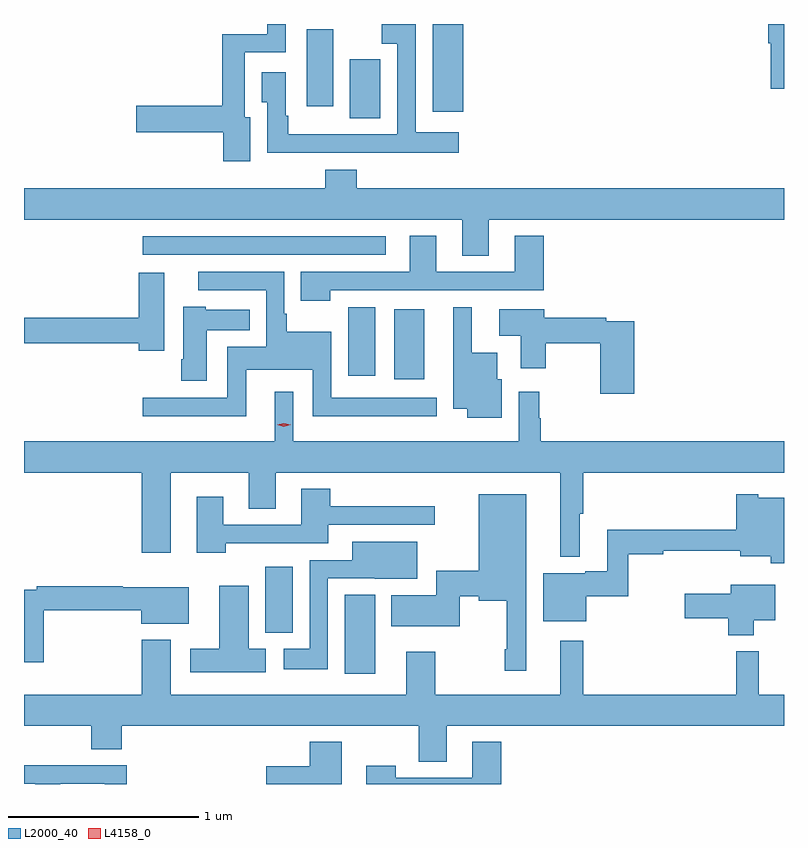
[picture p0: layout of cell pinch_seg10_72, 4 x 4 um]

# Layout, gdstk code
import gdstk
lib = gdstk.Library(unit=1e-6, precision=1e-09)
def R(c, l, rs):  # rectangles x0, y0, x1, y1
    for r in rs: c.add(gdstk.rectangle(r[:2], r[2:], *l))
def P(c, l, *ps):  # polygons
    for p in ps: c.add(gdstk.Polygon(p, *l))
L2000_40 = (2000, 40)
L4158_0 = (4158, 0)

pinch_seg10_72 = lib.new_cell('pinch_seg10_72')
R(pinch_seg10_72, L2000_40, [(820.445,1317.906,820.606,1318.321), (820.028,1318.121,820.171,1318.468), (820.706,1319.454,820.864,1319.824), (820.463,1319.475,820.606,1319.833), (819.381,1320.111,820.66,1320.207), (820.472,1320.829,820.633,1321.14), (820.907,1320.864,821.068,1321.325), (820.244,1320.891,820.384,1321.297)])
P(pinch_seg10_72, L2000_40, [(819.949,1320.835),(819.919,1320.835),(819.919,1321.176),(820.134,1321.176),(820.134,1321.325),(820.038,1321.325),(820.038,1321.272),(819.801,1321.272),(819.801,1320.896),(819.348,1320.896),(819.348,1320.754),(819.806,1320.754),(819.806,1320.603),(819.949,1320.603)],
  [(820.259,1320.648),(820.625,1320.648),(820.625,1320.647),(821.044,1320.647),(821.044,1320.754),(820.818,1320.754),(820.818,1321.325),(820.641,1321.325),(820.641,1321.221),(820.722,1321.221),(820.722,1320.744),(820.376,1320.744),(820.376,1320.745),(820.147,1320.745),(820.147,1320.841),(820.134,1320.841),(820.134,1321.072),(820.007,1321.072),(820.007,1320.913),(820.038,1320.913),(820.038,1320.647),(820.259,1320.647)],
  [(822.757,1321.325),(822.674,1321.325),(822.674,1321.223),(822.686,1321.223),(822.686,1320.983),(822.757,1320.983)],
  [(821.203,1320.296),(822.757,1320.296),(822.757,1320.46),(820.508,1320.46),(820.508,1320.559),(820.343,1320.559),(820.343,1320.46),(818.757,1320.46),(818.757,1320.296),(821.063,1320.296),(821.063,1320.106),(821.203,1320.106)],
  [(820.37,1319.925),(821.492,1319.925),(821.492,1320.211),(821.339,1320.211),(821.339,1320.021),(820.927,1320.021),(820.927,1320.211),(820.787,1320.211),(820.787,1320.021),(820.213,1320.021),(820.213,1319.868),(820.37,1319.868)],
  [(819.928,1319.504),(820.278,1319.504),(820.278,1319.261),(820.93,1319.261),(820.93,1319.358),(820.374,1319.358),(820.374,1319.704),(820.141,1319.704),(820.141,1319.8),(820.128,1319.8),(820.128,1320.021),(819.675,1320.021),(819.675,1319.925),(820.032,1319.925),(820.032,1319.626),(819.827,1319.626),(819.827,1319.358),(819.381,1319.358),(819.381,1319.261),(819.928,1319.261)],
  [(819.496,1320.016),(819.362,1320.016),(819.362,1319.78),(818.757,1319.78),(818.757,1319.644),(819.362,1319.644),(819.362,1319.604),(819.496,1319.604)],
  [(819.718,1319.714),(819.946,1319.714),(819.946,1319.821),(819.714,1319.821),(819.714,1319.836),(819.596,1319.836),(819.596,1319.56),(819.584,1319.56),(819.584,1319.448),(819.718,1319.448)],
  [(821.272,1319.454),(821.248,1319.454),(821.248,1319.596),(821.113,1319.596),(821.113,1319.833),(821.015,1319.833),(821.015,1319.3),(821.09,1319.3),(821.09,1319.252),(821.272,1319.252)],
  [(821.969,1319.76),(821.822,1319.76),(821.822,1319.78),(821.494,1319.78),(821.494,1319.824),(821.259,1319.824),(821.259,1319.684),(821.372,1319.684),(821.372,1319.514),(821.502,1319.514),(821.502,1319.644),(821.791,1319.644),(821.791,1319.379),(821.969,1319.379)],
  [(821.681,1318.747),(821.701,1318.747),(821.701,1318.964),(822.757,1318.964),(822.757,1319.128),(821.477,1319.128),(821.477,1319.25),(821.47,1319.25),(821.47,1319.389),(821.361,1319.389),(821.361,1319.128),(820.173,1319.128),(820.173,1319.389),(820.076,1319.389),(820.076,1319.128),(818.757,1319.128),(818.757,1318.964),(819.377,1318.964),(819.377,1318.542),(819.529,1318.542),(819.529,1318.964),(819.941,1318.964),(819.941,1318.774),(820.081,1318.774),(820.081,1318.964),(821.579,1318.964),(821.579,1318.52),(821.681,1318.52)],
  [(819.818,1318.593),(820.357,1318.593),(820.357,1318.689),(820.918,1318.689),(820.918,1318.786),(820.37,1318.786),(820.37,1318.879),(820.217,1318.879),(820.217,1318.689),(819.805,1318.689),(819.805,1318.837),(819.665,1318.837),(819.665,1318.542),(819.818,1318.542)],
  [(821.716,1318.312),(821.938,1318.312),(821.938,1318.534),(822.122,1318.534),(822.122,1318.552),(822.527,1318.552),(822.527,1318.523),(822.686,1318.523),(822.686,1318.487),(822.757,1318.487),(822.757,1318.831),(822.621,1318.831),(822.621,1318.849),(822.506,1318.849),(822.506,1318.663),(821.828,1318.663),(821.828,1318.445),(821.712,1318.445),(821.712,1318.435),(821.489,1318.435),(821.489,1318.181),(821.716,1318.181)],
  [(821.401,1318.849),(821.15,1318.849),(821.15,1318.448),(820.928,1318.448),(820.928,1318.318),(820.691,1318.318),(820.691,1318.154),(821.05,1318.154),(821.05,1318.312),(821.15,1318.312),(821.15,1318.289),(821.297,1318.289),(821.297,1318.033),(821.287,1318.033),(821.287,1317.921),(821.401,1317.921)],
  [(820.356,1318.407),(820.602,1318.407),(820.602,1318.406),(820.828,1318.406),(820.828,1318.6),(820.484,1318.6),(820.484,1318.503),(820.26,1318.503),(820.26,1318.036),(820.125,1318.036),(820.125,1317.929),(820.356,1317.929)],
  [(822.598,1318.187),(822.712,1318.187),(822.712,1318.375),(822.476,1318.375),(822.476,1318.327),(822.234,1318.327),(822.234,1318.198),(822.464,1318.198),(822.464,1318.109),(822.598,1318.109)],
  [(820.03,1318.036),(819.94,1318.036),(819.94,1318.369),(819.785,1318.369),(819.785,1318.036),(819.633,1318.036),(819.633,1317.914),(820.03,1317.914)],
  [(818.861,1318.239),(819.374,1318.239),(819.374,1318.169),(819.625,1318.169),(819.625,1318.36),(819.278,1318.36),(819.278,1318.367),(818.824,1318.367),(818.824,1318.347),(818.757,1318.347),(818.757,1317.966),(818.861,1317.966)],
  [(820.981,1317.632),(822.757,1317.632),(822.757,1317.796),(822.623,1317.796),(822.623,1318.024),(822.505,1318.024),(822.505,1317.796),(821.701,1317.796),(821.701,1318.078),(821.579,1318.078),(821.579,1317.796),(820.922,1317.796),(820.922,1318.021),(820.769,1318.021),(820.769,1317.796),(819.529,1317.796),(819.529,1318.084),(819.377,1318.084),(819.377,1317.796),(818.757,1317.796),(818.757,1317.632),(819.112,1317.632),(819.112,1317.508),(819.272,1317.508),(819.272,1317.632),(820.834,1317.632),(820.834,1317.442),(820.981,1317.442)],
  [(820.429,1317.547),(820.262,1317.547),(820.262,1317.418),(820.032,1317.418),(820.032,1317.325),(820.429,1317.325)],
  [(821.27,1317.547),(821.117,1317.547),(821.117,1317.357),(820.713,1317.357),(820.713,1317.421),(820.557,1317.421),(820.557,1317.325),(821.27,1317.325)],
  [(818.949,1317.326),(819.183,1317.326),(819.183,1317.325),(819.299,1317.325),(819.299,1317.423),(819.049,1317.423),(819.049,1317.425),(818.817,1317.425),(818.817,1317.423),(818.757,1317.423),(818.757,1317.327),(818.817,1317.327),(818.817,1317.325),(818.949,1317.325)])
P(pinch_seg10_72, L4158_0, [(820.125,1319.205),(820.089,1319.215),(820.089,1319.215),(820.089,1319.215),(820.125,1319.225),(820.16,1319.215),(820.16,1319.215),(820.16,1319.215)])

lib.write_gds('pinch_seg10_72.gds')
